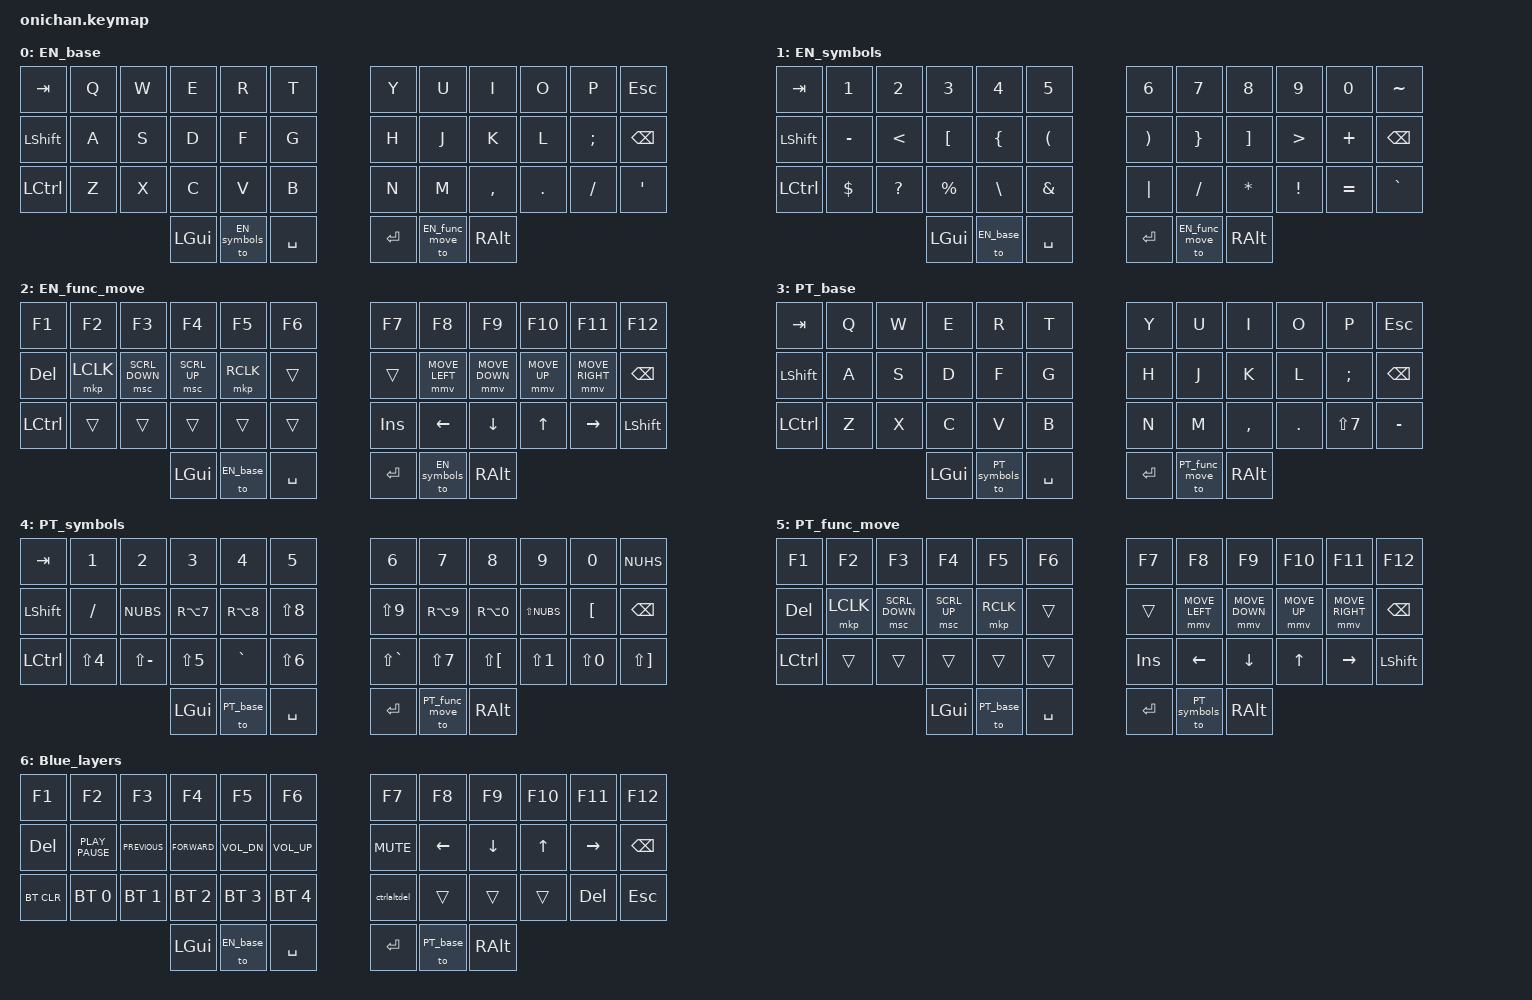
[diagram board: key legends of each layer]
//mouse emulation

#include <behaviors.dtsi>
#include <dt-bindings/zmk/bt.h>
#include <dt-bindings/zmk/keys.h>
#include <dt-bindings/zmk/pointing.h>

#define ZMK_POINTING_DEFAULT_MOVE_VAL 800  // default: 600
#define ZMK_POINTING_DEFAULT_SCRL_VAL 20    // default: 10

//Layers Aliases

#define EN_base 0
#define EN_symbols 1
#define EN_func_move 2
#define PT_base 3
#define PT_symbols 4
#define PT_func_move 5
#define Blue_layers 6

// Aliases

#define PT_BSLS GRAVE  // (backslash)
#define PT_1    NUMBER_1    // 1
#define PT_2    NUMBER_2    // 2
#define PT_3    NUMBER_3    // 3
#define PT_4    NUMBER_4    // 4
#define PT_5    NUMBER_5    // 5
#define PT_6    NUMBER_6    // 6
#define PT_7    NUMBER_7    // 7
#define PT_8    NUMBER_8    // 8
#define PT_9    NUMBER_9    // 9
#define PT_0    NUMBER_0    // 0
#define PT_SINGLE_QUOTE MINUS // '
#define PT_LDAQ EQUAL  // «
#define PT_Q    Q    // Q
#define PT_W    W    // W
#define PT_E    E    // E
#define PT_R    R    // R
#define PT_T    T    // T
#define PT_Y    Y    // Y
#define PT_U    U    // U
#define PT_I    I    // I
#define PT_O    O    // O
#define PT_P    P    // P
#define PT_PLUS LEFT_BRACKET // +
#define PT_ACUT RIGHT_BRACKET // ´ (dead)
#define PT_A    A    // A
#define PT_S    S    // S
#define PT_D    D    // D
#define PT_F    F    // F
#define PT_G    G    // G
#define PT_H    H    // H
#define PT_J    J    // J
#define PT_K    K    // K
#define PT_L    L    // L
#define PT_CED SEMICOLON // Ç
#define PT_MORD SINGLE_QUOTE // º
#define PT_TILDE NUHS // ~ (dead)
#define PT_LESS_THAN NUBS // <
#define PT_Z    Z    // Z
#define PT_X    X    // X
#define PT_C    C    // C
#define PT_V    V    // V
#define PT_B    B    // B
#define PT_N    N    // N
#define PT_M    M    // M
#define PT_COMMA COMMA // ,
#define PT_DOT  PERIOD  // .
#define PT_MINUS SLASH // -
#define PT_PIPE LS(GRAVE) // |
#define PT_EXLM LS(NUMBER_1)    // !
#define PT_DQUO LS(NUMBER_2)    // "
#define PT_HASH LS(NUMBER_3)    // #
#define PT_DLR  LS(NUMBER_4)    // $
#define PT_PERC LS(NUMBER_5)    // %
#define PT_AMPR LS(NUMBER_6)    // &
#define PT_SLSH LS(NUMBER_7)    // /
#define PT_LPRN LS(NUMBER_8)    // (
#define PT_RPRN LS(NUMBER_9)    // )
#define PT_EQL  LS(NUMBER_0)    // =
#define PT_QUES LS(MINUS) // ?
#define PT_RDAQ LS(EQUAL) // »
#define PT_ASTR LS(LEFT_BRACKET) // *
#define PT_GRV  LS(RIGHT_BRACKET) // ` (dead)
#define PT_FORD LS(SINGLE_QUOTE) // ª
#define PT_CIRC LS(NUHS) // ^ (dead)
#define PT_GREATER_THAN LS(NUBS) // >
#define PT_SCLN LS(COMMA) // ;
#define PT_COLN LS(PERIOD)  // :
#define PT_UNDS LS(SLASH) // _
#define PT_AT   RA(NUMBER_2)    // @
#define PT_PND  RA(NUMBER_3)    // £
#define PT_SECT RA(NUMBER_4)    // §
#define PT_LCBR RA(NUMBER_7)    // {
#define PT_LBRC RA(NUMBER_8)    // [
#define PT_RBRC RA(NUMBER_9)    // ]
#define PT_RCBR RA(NUMBER_0)    // }
#define PT_DIAE RA(LEFT_BRACKET) // ¨ (dead)
#define PT_EURO RA(PT_E)    // €

/ {
    combos {
        compatible = "zmk,combos";

        settinglayer {
            bindings = <&to Blue_layers>;
            key-positions = <37 40>;
        };
    };

    macros {
        ctrlaltdel: ctrlaltdel {
            compatible = "zmk,behavior-macro";
            #binding-cells = <0>;
            bindings = <&kp LC(LA(DEL))>;
            label = "CTRLALTDEL";
        };
    };

    keymap {
        compatible = "zmk,keymap";

        en_base {
            display-name = "EN_base";
            bindings = <
&kp TAB         &kp Q  &kp W  &kp E         &kp R           &kp T        &kp Y      &kp U             &kp I          &kp O       &kp P      &kp ESC
&kp LEFT_SHIFT  &kp A  &kp S  &kp D         &kp F           &kp G        &kp H      &kp J             &kp K          &kp L       &kp SEMI   &kp BACKSPACE
&kp LCTRL       &kp Z  &kp X  &kp C         &kp V           &kp B        &kp N      &kp M             &kp COMMA      &kp PERIOD  &kp SLASH  &kp SINGLE_QUOTE
                              &kp LEFT_GUI  &to EN_symbols  &kp SPACE    &kp ENTER  &to EN_func_move  &kp RIGHT_ALT
            >;
        };

        en_symbol {
            display-name = "EN_symbols";
            bindings = <
&kp TAB     &kp NUMBER_1  &kp NUMBER_2   &kp NUMBER_3      &kp NUMBER_4    &kp NUMBER_5            &kp NUMBER_6           &kp NUMBER_7      &kp NUMBER_8       &kp NUMBER_9      &kp NUMBER_0  &kp TILDE
&kp LSHIFT  &kp MINUS     &kp LESS_THAN  &kp LEFT_BRACKET  &kp LEFT_BRACE  &kp LEFT_PARENTHESIS    &kp RIGHT_PARENTHESIS  &kp RIGHT_BRACE   &kp RIGHT_BRACKET  &kp GREATER_THAN  &kp PLUS      &kp BACKSPACE
&kp LCTRL   &kp DOLLAR    &kp QUESTION   &kp PERCENT       &kp BACKSLASH   &kp AMPERSAND           &kp PIPE               &kp SLASH         &kp ASTERISK       &kp EXCLAMATION   &kp EQUAL     &kp GRAVE
                                         &kp LGUI          &to EN_base     &kp SPACE               &kp ENTER              &to EN_func_move  &kp RIGHT_ALT
            >;
        };

        en_nav {
            display-name = "EN_func_move";
            bindings = <
&kp F1      &kp F2     &kp F3          &kp F4        &kp F5       &kp F6       &kp F7      &kp F8          &kp F9          &kp F10       &kp F11          &kp F12
&kp DELETE  &mkp LCLK  &msc SCRL_DOWN  &msc SCRL_UP  &mkp RCLK    &trans       &trans      &mmv MOVE_LEFT  &mmv MOVE_DOWN  &mmv MOVE_UP  &mmv MOVE_RIGHT  &kp BACKSPACE
&kp LCTRL   &trans     &trans          &trans        &trans       &trans       &kp INSERT  &kp LEFT_ARROW  &kp DOWN_ARROW  &kp UP_ARROW  &kp RIGHT_ARROW  &kp LSHFT
                                       &kp LGUI      &to EN_base  &kp SPACE    &kp ENTER   &to EN_symbols  &kp RIGHT_ALT
            >;
        };

        pt_base {
            display-name = "PT_base";
            bindings = <
&kp TAB         &kp PT_Q     &kp PT_W     &kp PT_E         &kp PT_R           &kp PT_T     &kp PT_Y   &kp PT_U          &kp PT_I       &kp PT_O    &kp PT_P     &kp ESC
&kp LEFT_SHIFT  &kp PT_A  &kp PT_S  &kp PT_D      &kp PT_F        &kp PT_G     &kp PT_H   &kp PT_J          &kp PT_K       &kp PT_L    &kp PT_CED   &kp BACKSPACE
&kp LCTRL       &kp PT_Z  &kp PT_X  &kp PT_C      &kp PT_V        &kp PT_B     &kp PT_N   &kp PT_M          &kp PT_COMMA   &kp PT_DOT  &kp PT_SLSH  &kp PT_SINGLE_QUOTE
                                    &kp LEFT_GUI  &to PT_symbols  &kp SPACE    &kp ENTER  &to PT_func_move  &kp RIGHT_ALT
            >;
        };

        pt_symbol {
            display-name = "PT_symbols";
            bindings = <
&kp TAB     &kp PT_1      &kp PT_2          &kp PT_3     &kp PT_4     &kp PT_5       &kp PT_6     &kp PT_7          &kp PT_8       &kp PT_9             &kp PT_0     &kp PT_TILDE
&kp LSHIFT  &kp PT_MINUS  &kp PT_LESS_THAN  &kp PT_LCBR  &kp PT_LBRC  &kp PT_LPRN    &kp PT_RPRN  &kp PT_RBRC       &kp PT_RCBR    &kp PT_GREATER_THAN  &kp PT_PLUS  &kp BACKSPACE
&kp LCTRL   &kp PT_DLR    &kp PT_QUES       &kp PT_PERC  &kp PT_BSLS  &kp PT_AMPR    &kp PT_PIPE  &kp PT_SLSH       &kp PT_ASTR    &kp PT_EXLM          &kp PT_EQL   &kp PT_GRV
                                            &kp LGUI     &to PT_base  &kp SPACE      &kp ENTER    &to PT_func_move  &kp RIGHT_ALT
            >;
        };

        pt_nav {
            display-name = "PT_func_move";
            bindings = <
&kp F1      &kp F2     &kp F3          &kp F4        &kp F5       &kp F6       &kp F7      &kp F8          &kp F9          &kp F10       &kp F11          &kp F12
&kp DELETE  &mkp LCLK  &msc SCRL_DOWN  &msc SCRL_UP  &mkp RCLK    &trans       &trans      &mmv MOVE_LEFT  &mmv MOVE_DOWN  &mmv MOVE_UP  &mmv MOVE_RIGHT  &kp BACKSPACE
&kp LCTRL   &trans     &trans          &trans        &trans       &trans       &kp INSERT  &kp LEFT_ARROW  &kp DOWN_ARROW  &kp UP_ARROW  &kp RIGHT_ARROW  &kp LSHFT
                                       &kp LGUI      &to PT_base  &kp SPACE    &kp ENTER   &to PT_symbols  &kp RIGHT_ALT
            >;
        };

        Blue_Func {
            display-name = "Blue_layers";
            bindings = <
&kp F1      &kp F2            &kp F3          &kp F4         &kp F5        &kp F6          &kp F7       &kp F8          &kp F9          &kp F10       &kp F11          &kp F12
&kp DELETE  &kp K_PLAY_PAUSE  &kp K_PREVIOUS  &kp K_FORWARD  &kp C_VOL_DN  &kp C_VOL_UP    &kp K_MUTE   &kp LEFT_ARROW  &kp DOWN_ARROW  &kp UP_ARROW  &kp RIGHT_ARROW  &kp BACKSPACE
&bt BT_CLR  &bt BT_SEL 0      &bt BT_SEL 1    &bt BT_SEL 2   &bt BT_SEL 3  &bt BT_SEL 4    &ctrlaltdel  &trans          &trans          &trans        &kp DEL          &kp ESC
                                              &kp LGUI       &to EN_base   &kp SPACE       &kp ENTER    &to PT_base     &kp RIGHT_ALT
            >;
        };
    };
};
